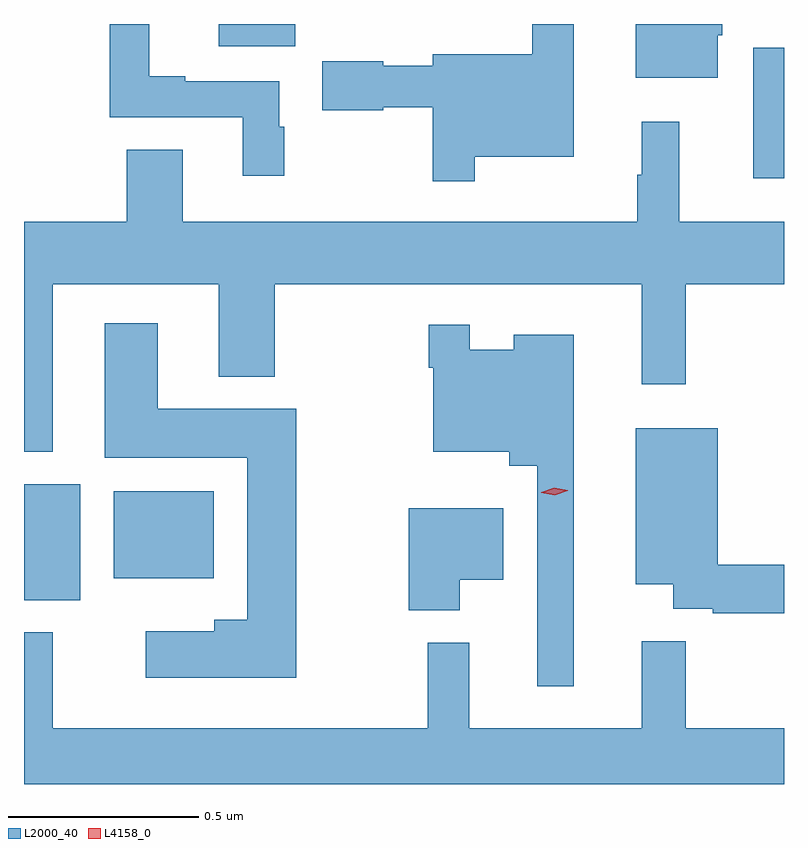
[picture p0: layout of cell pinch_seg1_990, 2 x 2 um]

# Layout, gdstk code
import gdstk
lib = gdstk.Library(unit=1e-6, precision=1e-09)
def R(c, l, rs):  # rectangles x0, y0, x1, y1
    for r in rs: c.add(gdstk.rectangle(r[:2], r[2:], *l))
def P(c, l, *ps):  # polygons
    for p in ps: c.add(gdstk.Polygon(p, *l))
L2000_40 = (2000, 40)
L4158_0 = (4158, 0)

pinch_seg1_990 = lib.new_cell('pinch_seg1_990')
R(pinch_seg1_990, L2000_40, [(136.581,510.941,136.729,511.246), (136.817,510.998,137.08,511.228), (138.5,512.051,138.581,512.395), (137.093,512.399,137.295,512.457)])
P(pinch_seg1_990, L2000_40, [(137.767,512.108),(138.028,512.108),(138.028,512.457),(137.919,512.457),(137.919,512.377),(137.657,512.377),(137.657,512.347),(137.526,512.347),(137.526,512.359),(137.366,512.359),(137.366,512.23),(137.526,512.23),(137.526,512.238),(137.657,512.238),(137.657,512.043),(137.767,512.043)],
  [(137.266,512.187),(137.253,512.187),(137.253,512.307),(137.005,512.307),(137.005,512.32),(136.91,512.32),(136.91,512.457),(136.807,512.457),(136.807,512.211),(137.156,512.211),(137.156,512.058),(137.266,512.058)],
  [(138.406,512.427),(138.418,512.427),(138.418,512.457),(138.191,512.457),(138.191,512.315),(138.406,512.315)],
  [(136.657,511.772),(137.093,511.772),(137.093,511.529),(137.241,511.529),(137.241,511.772),(138.206,511.772),(138.206,511.509),(138.323,511.509),(138.323,511.772),(138.581,511.772),(138.581,511.936),(138.305,511.936),(138.305,512.2),(138.206,512.2),(138.206,512.06),(138.195,512.06),(138.195,511.936),(136.999,511.936),(136.999,512.126),(136.852,512.126),(136.852,511.936),(136.581,511.936),(136.581,511.331),(136.657,511.331)],
  [(137.298,511.444),(136.933,511.444),(136.933,511.669),(136.793,511.669),(136.793,511.316),(137.168,511.316),(137.168,510.889),(137.081,510.889),(137.081,510.859),(136.902,510.859),(136.902,510.737),(137.298,510.737)],
  [(138.028,511.639),(137.87,511.639),(137.87,511.6),(137.754,511.6),(137.754,511.666),(137.646,511.666),(137.646,511.553),(137.658,511.553),(137.658,511.331),(137.858,511.331),(137.858,511.295),(137.931,511.295),(137.931,510.714),(138.028,510.714)],
  [(138.581,511.034),(138.406,511.034),(138.406,511.393),(138.191,511.393),(138.191,510.983),(138.29,510.983),(138.29,510.918),(138.394,510.918),(138.394,510.906),(138.581,510.906)],
  [(137.728,510.995),(137.842,510.995),(137.842,511.183),(137.594,511.183),(137.594,510.914),(137.728,510.914)],
  [(138.581,510.604),(138.323,510.604),(138.323,510.833),(138.206,510.833),(138.206,510.604),(137.753,510.604),(137.753,510.829),(137.643,510.829),(137.643,510.604),(136.657,510.604),(136.657,510.856),(136.581,510.856),(136.581,510.457),(138.581,510.457)])
P(pinch_seg1_990, L4158_0, [(137.978,511.217),(137.942,511.224),(137.942,511.224),(137.942,511.225),(137.977,511.237),(138.012,511.23),(138.012,511.229),(138.012,511.229)])

lib.write_gds('pinch_seg1_990.gds')
